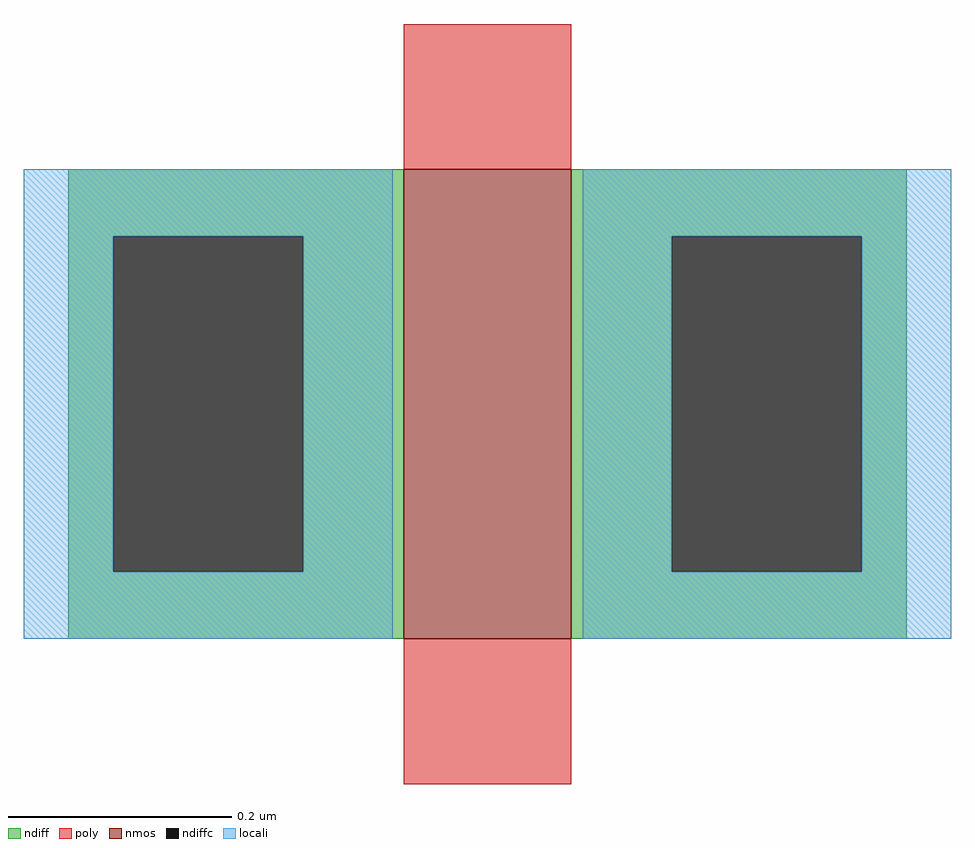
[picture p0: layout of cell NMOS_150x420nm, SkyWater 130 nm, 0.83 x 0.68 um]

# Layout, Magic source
magic
tech sky130A
<< nmos >>
rect -18 -8 -3 34
<< ndiff >>
rect -48 28 -18 34
rect -48 -2 -44 28
rect -27 -2 -18 28
rect -48 -8 -18 -2
rect -3 28 27 34
rect -3 -2 6 28
rect 23 -2 27 28
rect -3 -8 27 -2
<< ndiffc >>
rect -44 -2 -27 28
rect 6 -2 23 28
<< poly >>
rect -18 34 -3 47
rect -18 -21 -3 -8
<< locali >>
rect -52 28 -19 34
rect -52 -2 -44 28
rect -27 -2 -19 28
rect -52 -8 -19 -2
rect -2 28 31 34
rect -2 -2 6 28
rect 23 -2 31 28
rect -2 -8 31 -2
<< end >>
